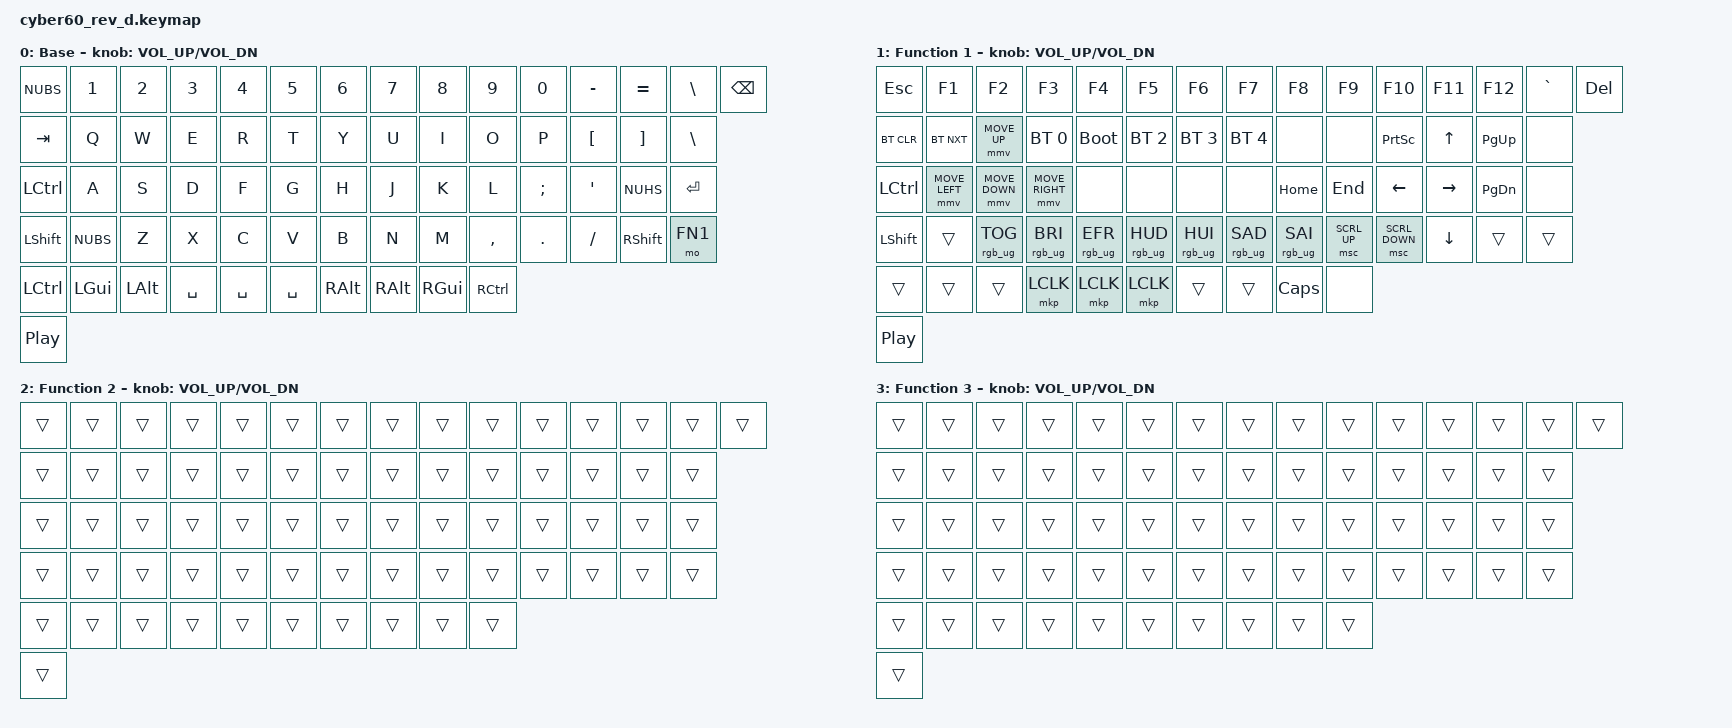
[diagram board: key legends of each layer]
#include <behaviors.dtsi>
#include <dt-bindings/zmk/bt.h>
#include <dt-bindings/zmk/keys.h>
#include <dt-bindings/zmk/rgb.h>
#include <dt-bindings/zmk/pointing.h>

#define FN1 1

/ {
    keymap {
        compatible = "zmk,keymap";
        default_layer {
            // Base layer
            // ------------------------------------------------------------------------------------------
            // | ESC |  1  |  2  |  3  |  4  |  5  |  6  |  7  |  8  |  9  |  0  |  -  |  =  | "\" |BKSP|
            // |  TAB |  Q  |  W  |  E  |  R  |  T  |  Y  |  U  |  I  |  O  |  P  |  [  |  ]  |   "\"   |
            // | CAPS  |  A  |  S  |  D  |  F  |  G  |  H  |  J  |  K  |  L  |  ;  |  '  |NUHS| ENTER   |
            // | SHIFT |NUBS| Z |  X  |  C  |  V  |  B  |  N  |  M  |  ,  |  .  |  /  |    Shift   | FN |
            // |  LCTL  |  LWIN  |  LALT  | SPACE  | SPACE |    SPACE   |  RALT | FN  |   RWIN  | RCTRL |
            // | Rotary | (<-- Rotary switch) ----------------------------------------------------------- 
            display-name = "Base";
            bindings = <
            &kp NUBS	&kp N1		&kp N2		&kp N3		&kp N4		&kp N5    &kp N6   &kp N7    &kp N8     &kp N9		&kp N0  	&kp MINUS	&kp EQUAL	&kp BSLH  &kp BSPC
            &kp TAB     &kp Q		&kp W		&kp E		&kp R		&kp T     &kp Y    &kp U     &kp I      &kp O		&kp P   	&kp LBKT	&kp RBKT	&kp BSLH
            &kp LCTRL	&kp A		&kp S		&kp D		&kp F		&kp G     &kp H    &kp J     &kp K      &kp L		&kp SEMI	&kp SQT		&kp NUHS	&kp RET
            &kp LSHFT	&kp NUBS	&kp Z		&kp X		&kp C		&kp V     &kp B    &kp N     &kp M  	&kp COMMA   &kp DOT   	&kp FSLH	&kp RSHFT   &mo FN1
            &kp LCTRL	&kp LGUI	&kp LALT	&kp SPACE	&kp SPACE	&kp SPACE  &kp RALT  &kp RALT  &kp RGUI  &kp RCTRL
            &kp C_PP
            >;

            sensor-bindings = <&inc_dec_kp C_VOL_UP C_VOL_DN>;
        };

        fn_layer_0 {
            display-name = "Function 1";
            // Function layer
            // ------------------------------------------------------------------------------------------
            // | RESET | F1 |  F2 |  F3 |  F4 |  F5 |  F6 |  F7 |  F8 |  F9 | F10 | F11 | F12 |TRNS | DEL |
            // |BT_CLR |TRNS | UP  | BT0 | BT1 | BT2 | BT3 | BT4 | TRNS | TRNS | TRNS | TRNS | TRNS | TRNS|
            // | BOOTL  |LEFT |DOWN |RIGHT|TRNS |TRNS |TRNS | TRNS| TRNS |TRNS| TRNS |TRNS | TRNS | TRNS  |
            // |S_UNLK|TRNS|TRNS|TRNS|TRNS | TRNS| TRNS | TRNS |  TRNS| TRNS | TRNS| TRNS |   TRNS   |TRNS|
            // |  TRNS | TRNS | TRNS |      TRNS      | TRNS |     TRNS     |  TRNS |  TRNS | TRNS | TRNS |
            // | Rotary | (<-- Rotary switch) ----------------------------------------------------------- 

            bindings = <
            &kp ESC	    &kp F1		&kp F2          &kp F3          &kp F4          &kp F5          &kp F6          &kp F7          &kp F8  		&kp F9	&kp F10  &kp F11  &kp F12 &kp GRAVE  &kp DEL
            &bt BT_CLR	&bt BT_NXT	&mmv MOVE_UP     		&bt BT_SEL 0    &bootloader     &bt BT_SEL 2    &bt BT_SEL 3    &bt BT_SEL 4    &none  		&none  &kp PSCRN   &kp UP   &kp PG_UP  &none
            &kp LCTRL   &mmv MOVE_LEFT	&mmv MOVE_DOWN        &mmv MOVE_RIGHT       &none          &none          &none          &none          &kp HOME  		&kp END  &kp LEFT   &kp RIGHT   &kp PG_DN  &none
            &kp LSHFT	&trans		&rgb_ug RGB_TOG	&rgb_ug RGB_BRI	&rgb_ug RGB_EFR	&rgb_ug RGB_HUD	&rgb_ug RGB_HUI	&rgb_ug RGB_SAD	&rgb_ug RGB_SAI &msc SCRL_UP  &msc SCRL_DOWN   &kp DOWN   &trans  &trans
            &trans		&trans		&trans          &mkp LCLK          &mkp LCLK          &mkp LCLK          &trans          &trans          &kp CAPS  		&none
            &kp C_PP
            >;

            sensor-bindings = <&inc_dec_kp C_VOL_UP C_VOL_DN>;
        };
        fn_layer_1 {
            display-name = "Function 2";
            bindings = <
            &trans	&trans  &trans  &trans  &trans  &trans  &trans  &trans  &trans  &trans  &trans  &trans  &trans  &trans  &trans
            &trans	&trans  &trans  &trans  &trans  &trans  &trans  &trans  &trans  &trans  &trans  &trans  &trans  &trans
            &trans	&trans  &trans  &trans  &trans  &trans  &trans  &trans  &trans  &trans  &trans  &trans  &trans  &trans
            &trans  &trans  &trans	&trans	&trans	&trans	&trans	&trans	&trans  &trans  &trans  &trans  &trans  &trans
            &trans  &trans  &trans  &trans  &trans  &trans  &trans  &trans  &trans  &trans
            &trans
            >;

            sensor-bindings = <&inc_dec_kp C_VOL_UP C_VOL_DN>;
        };
        fn_layer_2 {
            display-name = "Function 3";
            bindings = <
            &trans	&trans  &trans  &trans  &trans  &trans  &trans  &trans  &trans  &trans  &trans  &trans  &trans  &trans  &trans
            &trans	&trans  &trans  &trans  &trans  &trans  &trans  &trans  &trans  &trans  &trans  &trans  &trans  &trans
            &trans	&trans  &trans  &trans  &trans  &trans  &trans  &trans  &trans  &trans  &trans  &trans  &trans  &trans
            &trans  &trans  &trans	&trans	&trans	&trans	&trans	&trans	&trans  &trans  &trans  &trans  &trans  &trans
            &trans  &trans  &trans  &trans  &trans  &trans  &trans  &trans  &trans  &trans
            &trans
            >;

            sensor-bindings = <&inc_dec_kp C_VOL_UP C_VOL_DN>;
        };
    };
};
